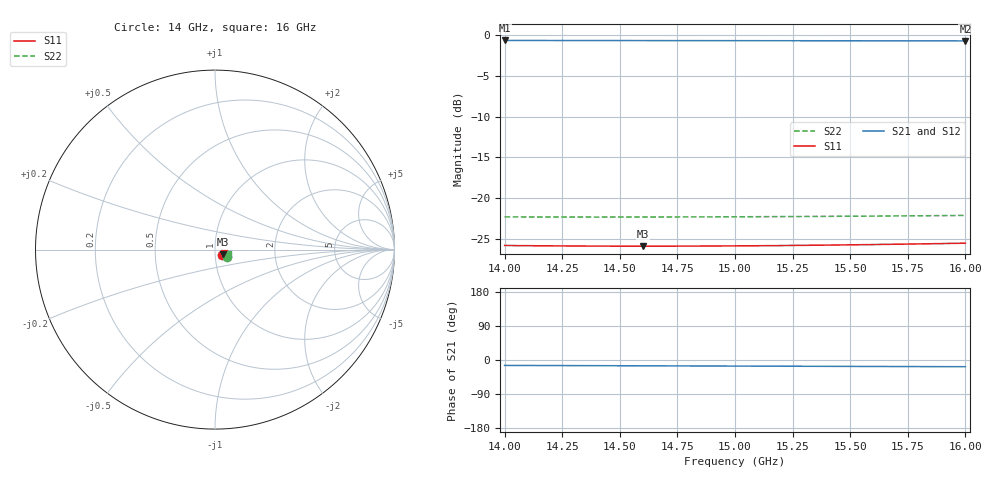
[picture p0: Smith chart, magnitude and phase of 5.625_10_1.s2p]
! Created Fri Dec 11 14:16:00 2020
# hz S ma R 50
! 2 Port Network Data from Sweep1.SP1.SP block
! freq  magS11  angS11  magS21  angS21  magS12  angS12  magS22  angS22
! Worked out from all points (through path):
!   21 points, 14 GHz to 16 GHz, reference 50 ohm
!   highest |S21| = -0.64 dB at 14 GHz (marker M1); lowest = -0.7 dB at 16 GHz (marker M2)
!   group delay of S21, straight-line fit = 4.78 ps
!   lowest |S11| = -25.9 dB at 14.6 GHz (marker M3), VSWR 1.11, Z = 54.4 - j2.92 ohm
!   |S11| at or under -10 dB: start of sweep to end of sweep
!   |S22| runs from -22.3 to -22.1 dB; largest |S21 - S12| = 0
1.4e10  0.05106 -38.8  0.9293 -14.3  0.9293 -14.3  0.07648 -31.4
1.41e10  0.0509 -37.6  0.929 -14.5  0.929 -14.5  0.07641 -30.7
1.42e10  0.05077 -36.5  0.9287 -14.6  0.9287 -14.6  0.07636 -30.0
1.43e10  0.05067 -35.3  0.9284 -14.8  0.9284 -14.8  0.07633 -29.3
1.44e10  0.0506 -34.2  0.9281 -15.0  0.9281 -15.0  0.07632 -28.7
1.45e10  0.05056 -33.1  0.9278 -15.2  0.9278 -15.2  0.07633 -28.0
1.46e10  0.05054 -31.9  0.9275 -15.3  0.9275 -15.3  0.07636 -27.3
1.47e10  0.05056 -30.9  0.9272 -15.5  0.9272 -15.5  0.0764 -26.7
1.48e10  0.0506 -29.8  0.927 -15.7  0.927 -15.7  0.07645 -26.1
1.49e10  0.05066 -28.7  0.9267 -15.9  0.9267 -15.9  0.07652 -25.4
1.5e10  0.05075 -27.7  0.9264 -16.0  0.9264 -16.0  0.07661 -24.8
1.51e10  0.05086 -26.6  0.9261 -16.2  0.9261 -16.2  0.0767 -24.2
1.52e10  0.05099 -25.6  0.9258 -16.4  0.9258 -16.4  0.07681 -23.6
1.53e10  0.05114 -24.7  0.9255 -16.5  0.9255 -16.5  0.07694 -23.1
1.54e10  0.05132 -23.7  0.9253 -16.7  0.9253 -16.7  0.07707 -22.5
1.55e10  0.05151 -22.8  0.925 -16.9  0.925 -16.9  0.07722 -21.9
1.56e10  0.05172 -21.8  0.9247 -17.1  0.9247 -17.1  0.07737 -21.4
1.57e10  0.05195 -20.9  0.9244 -17.2  0.9244 -17.2  0.07754 -20.9
1.58e10  0.05219 -20.0  0.9242 -17.4  0.9242 -17.4  0.07772 -20.3
1.59e10  0.05245 -19.2  0.9239 -17.6  0.9239 -17.6  0.0779 -19.8
1.6e10  0.05272 -18.4  0.9236 -17.7  0.9236 -17.7  0.0781 -19.3
